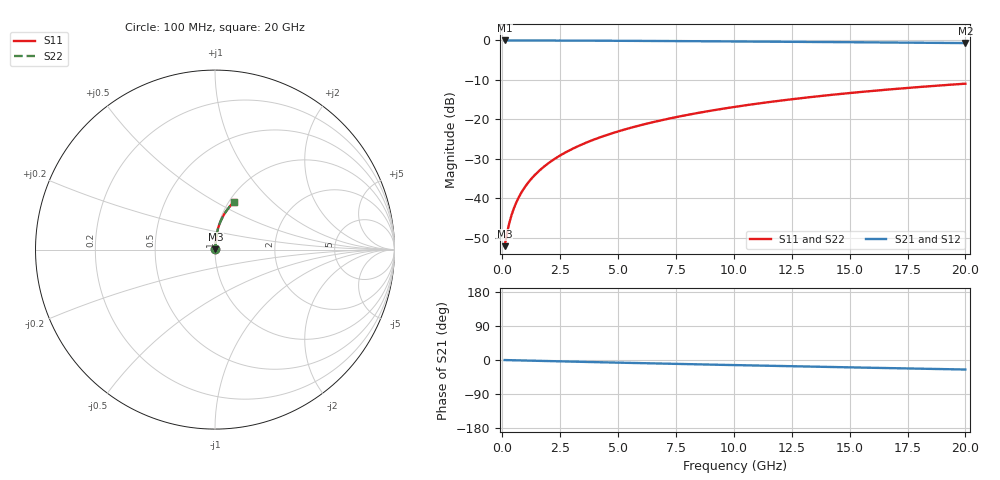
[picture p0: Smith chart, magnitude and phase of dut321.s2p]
! Touchstone file exported from HFSS 2024.1.0
!  File:  C:/UserFiles/LocalFiles/RDL_TSV_Batchsim/temp_RDL_bottom_321_1779611063.aedt
!  Generated:  04:26:55 PM May 24, 2026
!  Design:  RDL_bottom
!  Project:  temp_RDL_bottom_321_1779611063
!  Setup:  Setup1
!  Solution:  Sweep
! Variables:
!  dtsv = 10.80580581um
!  hbump = 3um
!  htsv = 64.84um
!  ldown = 318.65um
!  lrdl = 100um
!  p = 40
!  p1 = 46.68um
!  rhole = 1um
!  t = 450um
!  tdown = 3.71um
!  trdl = 3.915915916um
!  wdown = 16.73um
!  wrdl = 20um
# GHz S MA R 50.000000
! Terminal data exported
! Port[1] = RDL1_T1
! Port[2] = RDL1_T2
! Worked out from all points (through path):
!   200 points, 100 MHz to 20 GHz, reference 50 ohm
!   highest |S21| = -0.02 dB at 100 MHz (marker M1); lowest = -0.7 dB at 20 GHz (marker M2)
!   group delay of S21, straight-line fit = 3.47 ps
!   lowest |S11| = -52.2 dB at 100 MHz (marker M3), VSWR 1.00, Z = 50.2 + j0.148 ohm
!   |S11| at or under -10 dB: start of sweep to end of sweep
!   |S22| runs from -52.2 to -11.0 dB; largest |S21 - S12| = 2.6e-15
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0.1  0.002469 36.6  0.998 -0.1  0.998 -0.1  0.002469 36.6
! Gamma 0 0 0 0
! Port Impedance 50 0 50 0
0.2  0.003562 55.1  0.9979 -0.3  0.9979 -0.3  0.003562 55.1
0.3  0.004822 64.0  0.9979 -0.4  0.9979 -0.4  0.004822 64.0
0.4  0.006126 69.2  0.9978 -0.6  0.9978 -0.6  0.006126 69.2
0.5  0.007447 72.5  0.9977 -0.7  0.9977 -0.7  0.007447 72.5
0.6  0.008777 74.9  0.9976 -0.9  0.9976 -0.9  0.008777 74.9
0.8  0.01146 78.0  0.9974 -1.2  0.9974 -1.2  0.01146 78.0
1.1  0.01552 80.7  0.9972 -1.6  0.9972 -1.6  0.01552 80.7
1.5  0.021 82.6  0.9967 -2.1  0.9967 -2.1  0.021 82.6
1.8  0.02513 83.5  0.9963 -2.6  0.9963 -2.6  0.02513 83.5
2.1  0.02928 84.0  0.9959 -3.0  0.9959 -3.0  0.02928 84.0
2.7  0.03763 84.6  0.9948 -3.8  0.9948 -3.8  0.03763 84.6
3.5  0.04886 84.8  0.993 -4.9  0.993 -4.9  0.04886 84.8
4.2  0.05878 84.7  0.9911 -5.9  0.9911 -5.9  0.05878 84.7
5  0.07021 84.4  0.9887 -7.0  0.9887 -7.0  0.07021 84.4
5.9  0.08318 83.9  0.9858 -8.2  0.9858 -8.2  0.08318 83.9
6.8  0.09626 83.2  0.9826 -9.4  0.9826 -9.4  0.09626 83.2
8.3  0.1182 81.9  0.9768 -11.3  0.9768 -11.3  0.1182 81.9
10.1  0.1446 80.0  0.9695 -13.5  0.9695 -13.5  0.1446 80.0
13.4  0.1925 76.3  0.9554 -17.5  0.9554 -17.5  0.1925 76.3
16.7  0.2388 72.4  0.9404 -21.4  0.9404 -21.4  0.2388 72.4
20  0.2829 68.5  0.9245 -25.1  0.9245 -25.1  0.2829 68.5
